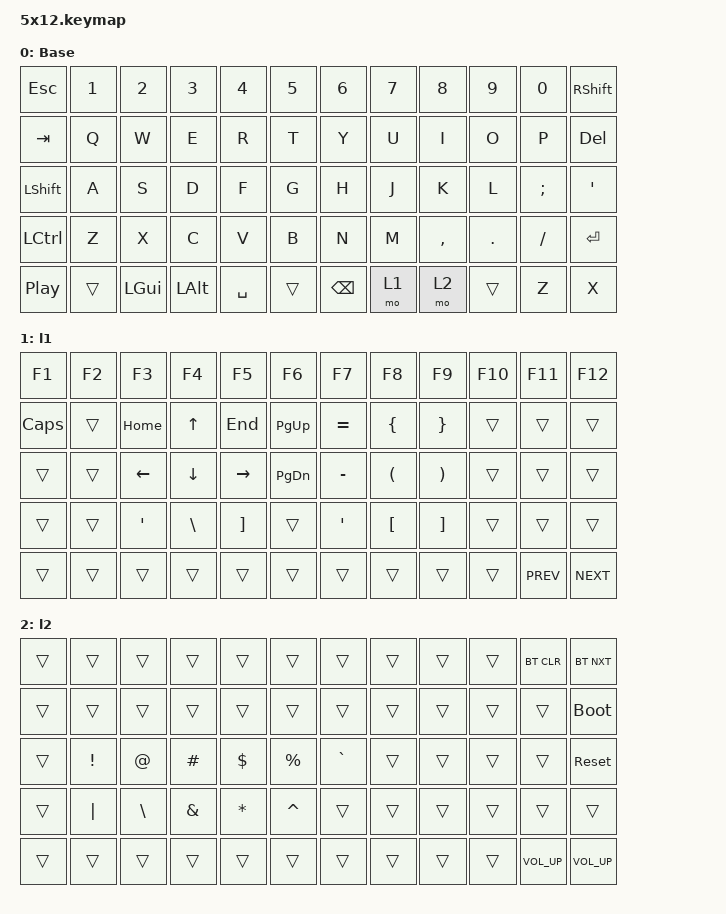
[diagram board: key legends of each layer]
#include <behaviors.dtsi>
#include <dt-bindings/zmk/bt.h>
#include <dt-bindings/zmk/keys.h>

/ {
	keymap {
		compatible = "zmk,keymap";

		l0 {
			display-name = "Base";
			bindings = <
				&kp ESC    &kp N1  &kp N2    &kp N3    &kp N4     &kp N5  &kp N6    &kp N7  &kp N8     &kp N9   &kp N0    &kp RSHFT
				&kp TAB    &kp Q   &kp W     &kp E     &kp R      &kp T   &kp Y     &kp U   &kp I      &kp O    &kp P     &kp DEL
				&kp LSHFT  &kp A   &kp S     &kp D     &kp F      &kp G   &kp H     &kp J   &kp K      &kp L    &kp SEMI  &kp SQT
				&kp LCTRL  &kp Z   &kp X     &kp C     &kp V      &kp B   &kp N     &kp M   &kp COMMA  &kp DOT  &kp FSLH  &kp ENTER
				&kp C_PP   &trans  &kp LGUI  &kp LALT  &kp SPACE  &trans  &kp BSPC  &mo 1   &mo 2      &trans   &kp Z     &kp X
			>;
		};

		l1 {
			bindings = <
               &kp F1    &kp F2  &kp F3    &kp F4    &kp F5    &kp F6     &kp F7     &kp F8    &kp F9    &kp F10  &kp F11     &kp F12
               &kp CAPS  &trans  &kp HOME  &kp UP    &kp END   &kp PG_UP  &kp EQUAL  &kp LBRC  &kp RBRC  &trans   &trans      &trans
               &trans    &trans  &kp LEFT  &kp DOWN  &kp RIGHT &kp PG_DN  &kp MINUS  &kp LPAR  &kp RPAR  &trans   &trans      &trans   
               &trans    &trans  &kp SQT   &kp BSLH  &kp RBKT  &trans     &kp SQT    &kp LBKT  &kp RBKT  &trans   &trans      &trans
               &trans    &trans  &trans    &trans    &trans    &trans     &trans     &trans    &trans    &trans   &kp C_PREV  &kp C_NEXT
			>; 
		};

		l2 {
			bindings = <
                &trans  &trans    &trans    &trans    &trans    &trans     &trans     &trans  &trans  &trans  &bt BT_CLR    &bt BT_NXT
                &trans  &trans    &trans    &trans    &trans    &trans     &trans     &trans  &trans  &trans  &trans        &bootloader
                &trans  &kp EXCL  &kp AT    &kp HASH  &kp DLLR  &kp PRCNT  &kp GRAVE  &trans  &trans  &trans  &trans        &sys_reset
                &trans  &kp PIPE  &kp BSLH  &kp AMPS  &kp STAR  &kp CARET  &trans     &trans  &trans  &trans  &trans        &trans 
                &trans  &trans    &trans    &trans    &trans    &trans     &trans     &trans  &trans  &trans  &kp C_VOL_UP  &kp C_VOL_UP
			>;
		};
	};
};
